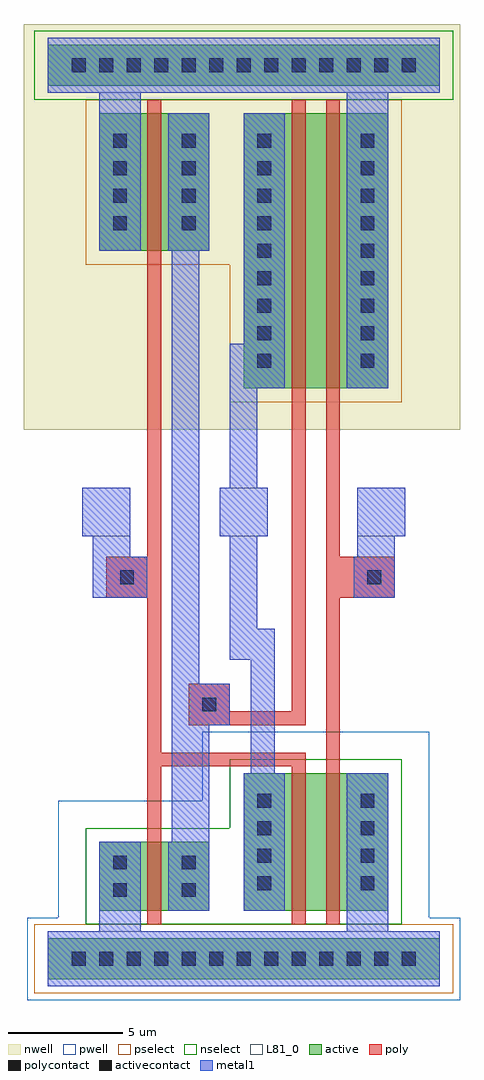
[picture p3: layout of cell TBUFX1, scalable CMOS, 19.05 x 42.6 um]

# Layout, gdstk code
import gdstk
lib = gdstk.Library(unit=1e-6, precision=1e-09)
def R(c, l, rs):  # rectangles x0, y0, x1, y1
    for r in rs: c.add(gdstk.rectangle(r[:2], r[2:], *l))
def A(c, l, x, y, w, h, nx, ny, dx, dy):  # array of equal rectangles
    R(c, l, [(x+i*dx, y+j*dy, x+i*dx+w, y+j*dy+h) for i in range(nx) for j in range(ny)])
pwell = (41, 0)
nwell = (42, 0)
active = (43, 0)
pselect = (44, 0)
nselect = (45, 0)
poly = (46, 0)
polycontact = (47, 0)
activecontact = (48, 0)
metal1 = (49, 0)
L81_0 = (81, 0)

tbufx1 = lib.new_cell('TBUFX1')
R(tbufx1, pwell, [(-1.95,-1.8,16.95,1.8), (-0.6,1.8,15.6,6.9), (5.7,6.9,15.6,9.9)])
R(tbufx1, nwell, [(-2.1,23.1,16.95,40.8)])
R(tbufx1, active, [(-1.05,-0.9,16.05,0.9), (1.2,2.1,6,5.1), (7.5,2.1,13.8,8.1), (7.5,24.9,13.8,36.9), (1.2,30.9,6,36.9), (-1.05,38.1,16.05,39.9)])
R(tbufx1, pselect, [(-1.65,-1.5,16.65,1.5), (6.9,24.3,14.4,30.3), (0.6,30.3,14.4,37.5)])
R(tbufx1, nselect, [(0.6,1.5,14.4,5.7), (6.9,5.7,14.4,8.7), (-1.65,37.5,16.65,40.5)])
R(tbufx1, poly, [(3.3,1.5,3.9,8.4), (9.6,1.5,10.2,8.4), (11.1,1.5,11.7,15.75), (3.3,8.4,10.2,9), (3.3,9,3.9,15.75), (5.1,10.2,10.2,10.8), (5.1,10.8,6.9,12), (9.6,10.8,10.2,37.5), (1.5,15.75,3.9,17.55), (11.1,15.75,14.1,17.55), (3.3,17.55,3.9,37.5), (11.1,17.55,11.7,37.5)])
R(tbufx1, polycontact, [(5.7,10.8,6.3,11.4), (2.1,16.35,2.7,16.95), (12.9,16.35,13.5,16.95)])
A(tbufx1, activecontact, 0, -0.3, 0.6, 0.6, 13, 2, 1.2, 39)
A(tbufx1, activecontact, 8.1, 3, 0.6, 0.6, 1, 4, 0, 1.2)
A(tbufx1, activecontact, 12.6, 3, 0.6, 0.6, 1, 4, 0, 1.2)
A(tbufx1, activecontact, 8.1, 25.8, 0.6, 0.6, 1, 9, 0, 1.2)
A(tbufx1, activecontact, 12.6, 25.8, 0.6, 0.6, 1, 9, 0, 1.2)
A(tbufx1, activecontact, 1.8, 31.8, 0.6, 0.6, 1, 4, 0, 1.2)
A(tbufx1, activecontact, 4.8, 31.8, 0.6, 0.6, 1, 4, 0, 1.2)
R(tbufx1, activecontact, [(1.8,2.7,2.4,3.3), (4.8,2.7,5.4,3.3), (1.8,3.9,2.4,4.5), (4.8,3.9,5.4,4.5)])
A(tbufx1, metal1, 0.45, 18.45, 2.1, 2.1, 3, 1, 6, 0)
R(tbufx1, metal1, [(-1.05,-1.2,16.05,1.2), (1.2,1.2,3,5.1), (12,1.2,13.8,8.1), (4.2,2.1,6,5.1), (7.5,2.1,9.3,8.1), (4.35,5.1,6,10.2), (7.8,8.1,8.85,13.05), (4.35,10.2,6.9,12), (4.35,12,5.55,30.9), (6.9,13.05,8.85,14.4), (6.9,14.4,8.1,18.45), (0.9,15.75,3.3,17.55), (12.3,15.75,14.1,17.55), (0.9,17.55,2.55,18.45), (12.45,17.55,14.1,18.45), (6.9,20.55,8.1,24.9), (6.9,24.9,9.3,26.85), (12,24.9,13.8,37.8), (7.5,26.85,9.3,36.9), (1.2,30.9,3,37.8), (4.2,30.9,6,36.9), (-1.05,37.8,16.05,40.2)])
A(tbufx1, L81_0, 0.45, 18.45, 2.1, 2.1, 3, 1, 6, 0)
R(tbufx1, L81_0, [(-1.05,-1.2,16.05,1.2), (-1.05,37.8,16.05,40.2)])

lib.write_gds('TBUFX1.gds')
